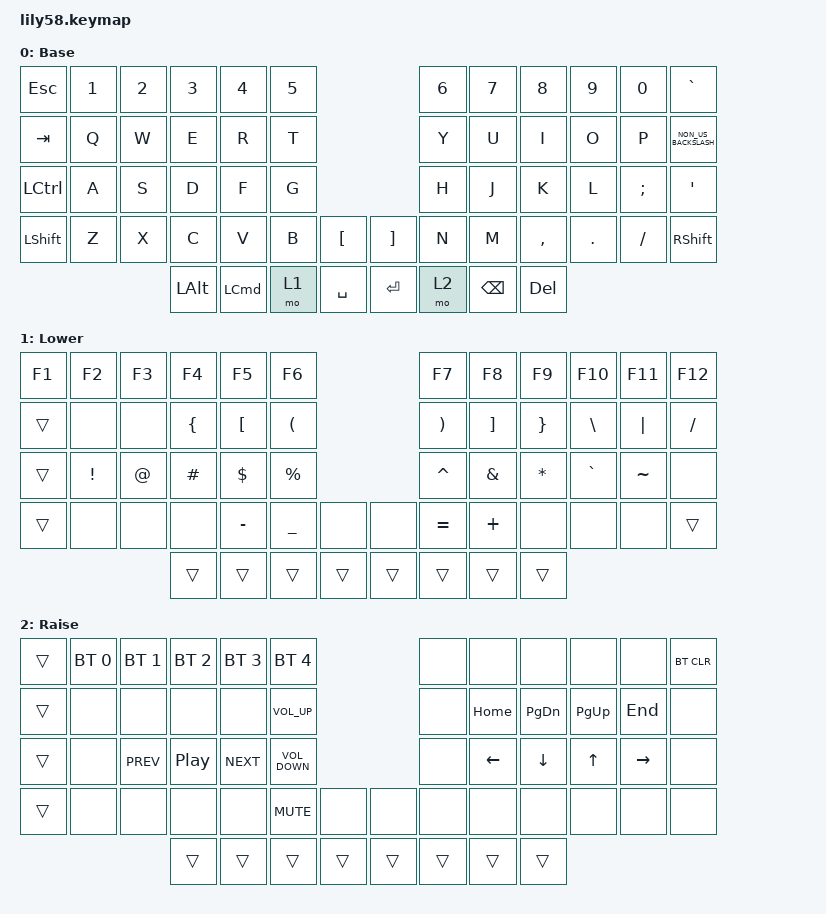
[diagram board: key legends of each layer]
/*
 * Copyright (c) 2020 The ZMK Contributors
 *
 * SPDX-License-Identifier: MIT
 */

#include <behaviors.dtsi>
#include <dt-bindings/zmk/bt.h>
#include <dt-bindings/zmk/keys.h>

/ {
    combos {
        compatible = "zmk,combos";

        ChangeLanguage {
            bindings = <&kp LG(SPACE)>;
            key-positions = <52 55>;
        };
    };

    keymap {
        compatible = "zmk,keymap";

        default_layer {
            // ------------------------------------------------------------------------------------------------------------
            // |  ESC  |  1  |  2  |  3   |  4   |  5   |                   |  6   |  7    |  8    |  9   |   0   |   `   |
            // |  TAB  |  Q  |  W  |  E   |  R   |  T   |                   |  Y   |  U    |  I    |  O   |   P   |   -   |
            // |  CTRL |  A  |  S  |  D   |  F   |  G   |                   |  H   |  J    |  K    |  L   |   ;   |   '   |
            // | SHIFT |  Z  |  X  |  C   |  V   |  B   |   "["  |  |  "]"  |  N   |  M    |  ,    |  .   |   /   | SHIFT |
            //                     | ALT  | GUI  | LOWER|  SPACE |  | ENTER | RAISE| BSPC  | GUI   |

            display-name = "Base";
            bindings = <
&kp ESC           &kp N1  &kp N2  &kp N3        &kp N4            &kp N5                         &kp N6  &kp N7    &kp N8      &kp N9   &kp N0    &kp GRAVE
&kp TAB           &kp Q   &kp W   &kp E         &kp R             &kp T                          &kp Y   &kp U     &kp I       &kp O    &kp P     &kp NON_US_BACKSLASH
&kp LEFT_CONTROL  &kp A   &kp S   &kp D         &kp F             &kp G                          &kp H   &kp J     &kp K       &kp L    &kp SEMI  &kp SQT
&kp LEFT_SHIFT    &kp Z   &kp X   &kp C         &kp V             &kp B   &kp LBKT     &kp RBKT  &kp N   &kp M     &kp COMMA   &kp DOT  &kp FSLH  &kp RSHFT
                                  &kp LEFT_ALT  &kp LEFT_COMMAND  &mo 1   &kp SPACE    &kp RET   &mo 2   &kp BSPC  &kp DELETE
            >;
        };

        lower_layer {
            // ------------------------------------------------------------------------------------------------------------
            // | BTCLR | BT1 | BT2 |  BT3 |  BT4 |  BT5 |                   |      |       |       |      |       |       |
            // |  F1   |  F2 |  F3 |  F4  |  F5  |  F6  |                   |  F7  |  F8   |  F9   |  F10 |  F11  |  F12  |
            // |   `   |  !  |  @  |  #   |  $   |  %   |                   |  ^   |  &    |  *    |  (   |   )   |   ~   |
            // |       |     |     |      |      |      |        |  |       |      |  _    |  +    |  {   |   }   |  "|"  |
            //                     |      |      |      |        |  |       |      |       |       |

            display-name = "Lower";
            bindings = <
&kp F1  &kp F2    &kp F3  &kp F4          &kp F5            &kp F6                                  &kp F7                 &kp F8             &kp F9           &kp F10        &kp F11    &kp F12
&trans  &none     &none   &kp LEFT_BRACE  &kp LEFT_BRACKET  &kp LEFT_PARENTHESIS                    &kp RIGHT_PARENTHESIS  &kp RIGHT_BRACKET  &kp RIGHT_BRACE  &kp BACKSLASH  &kp PIPE   &kp SLASH
&trans  &kp EXCL  &kp AT  &kp HASH        &kp DOLLAR        &kp PRCNT                               &kp CARET              &kp AMPS           &kp ASTERISK     &kp GRAVE      &kp TILDE  &none
&trans  &none     &none   &none           &kp MINUS         &kp UNDERSCORE        &none     &none   &kp EQUAL              &kp PLUS           &none            &none          &none      &trans
                          &trans          &trans            &trans                &trans    &trans  &trans                 &trans             &trans
            >;
        };

        raise_layer {
            // ------------------------------------------------------------------------------------------------------------
            // |       |     |     |      |      |      |                   |      |       |       |      |       |       |
            // |   `   |  1  |  2  |  3   |  4   |  5   |                   |  6   |   7   |   8   |  9   |   0   |       |
            // |   F1  |  F2 |  F3 |  F4  |  F5  |  F6  |                   |      |   <-  |   v   |  ^   |  ->   |       |
            // |   F7  |  F8 |  F9 |  F10 |  F11 |  F12 |        |  |       |  +   |   -   |   =   |  [   |   ]   |   \   |
            //                     |      |      |      |        |  |       |      |       |       |

            display-name = "Raise";
            bindings = <
&trans  &bt BT_SEL 0  &bt BT_SEL 1  &bt BT_SEL 2      &bt BT_SEL 3  &bt BT_SEL 4                         &none   &none     &none          &none        &none      &bt BT_CLR
&trans  &none         &none         &none             &none         &kp C_VOLUME_UP                      &none   &kp HOME  &kp PAGE_DOWN  &kp PAGE_UP  &kp END    &none
&trans  &none         &kp C_PREV    &kp C_PLAY_PAUSE  &kp C_NEXT    &kp C_VOLUME_DOWN                    &none   &kp LEFT  &kp DOWN       &kp UP       &kp RIGHT  &none
&trans  &none         &none         &none             &none         &kp C_MUTE         &none     &none   &none   &none     &none          &none        &none      &none
                                    &trans            &trans        &trans             &trans    &trans  &trans  &trans    &trans
            >;
        };
    };
};
